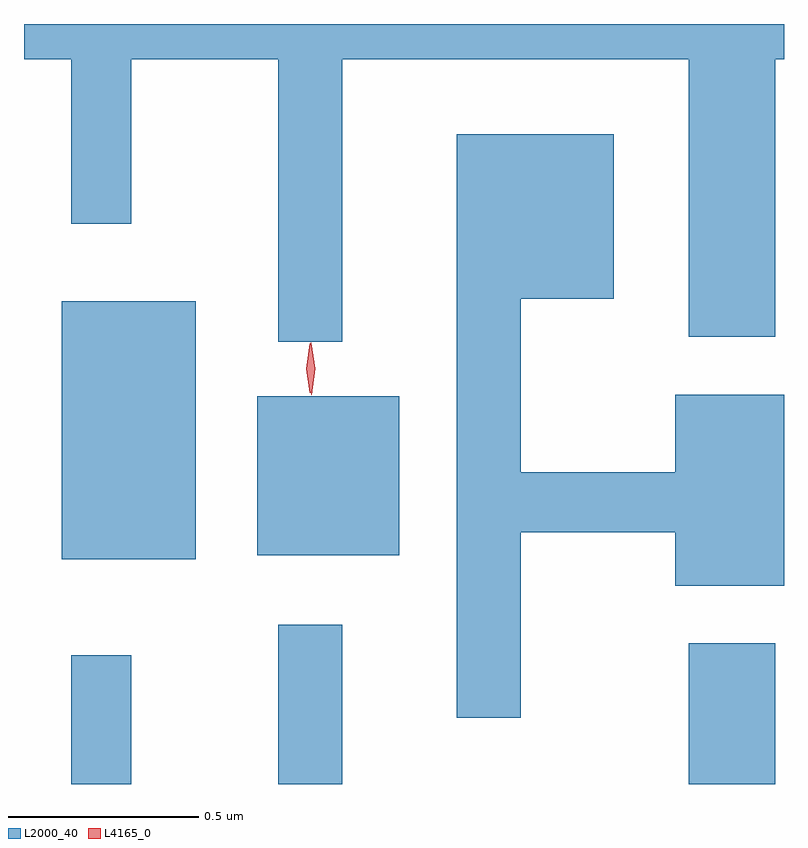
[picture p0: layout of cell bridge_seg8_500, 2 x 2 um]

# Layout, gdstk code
import gdstk
lib = gdstk.Library(unit=1e-6, precision=1e-09)
def R(c, l, rs):  # rectangles x0, y0, x1, y1
    for r in rs: c.add(gdstk.rectangle(r[:2], r[2:], *l))
def P(c, l, *ps):  # polygons
    for p in ps: c.add(gdstk.Polygon(p, *l))
L2000_40 = (2000, 40)
L4165_0 = (4165, 0)

bridge_seg8_500 = lib.new_cell('bridge_seg8_500')
R(bridge_seg8_500, L2000_40, [(362.806,1885.569,362.964,1885.908), (363.351,1885.569,363.519,1885.988), (364.431,1885.569,364.659,1885.939), (362.781,1886.161,363.134,1886.839), (363.296,1886.171,363.669,1886.589)])
P(bridge_seg8_500, L2000_40, [(362.682,1887.476),(362.806,1887.476),(362.806,1887.043),(362.964,1887.043),(362.964,1887.476),(363.351,1887.476),(363.351,1886.733),(363.519,1886.733),(363.519,1887.476),(364.431,1887.476),(364.431,1886.746),(364.659,1886.746),(364.659,1887.476),(364.682,1887.476),(364.682,1887.569),(362.682,1887.569)],
  [(363.989,1886.231),(364.396,1886.231),(364.396,1886.091),(364.682,1886.091),(364.682,1886.594),(364.396,1886.594),(364.396,1886.389),(363.989,1886.389),(363.989,1886.846),(364.234,1886.846),(364.234,1887.279),(363.821,1887.279),(363.821,1885.743),(363.989,1885.743)])
P(bridge_seg8_500, L4165_0, [(363.438,1886.594),(363.428,1886.662),(363.437,1886.73),(363.437,1886.73),(363.438,1886.73),(363.448,1886.662),(363.439,1886.594),(363.439,1886.594)],
  [(363.434,1886.598),(363.425,1886.662),(363.434,1886.727),(363.435,1886.727),(363.435,1886.727),(363.445,1886.662),(363.435,1886.598),(363.435,1886.598)])

lib.write_gds('bridge_seg8_500.gds')
